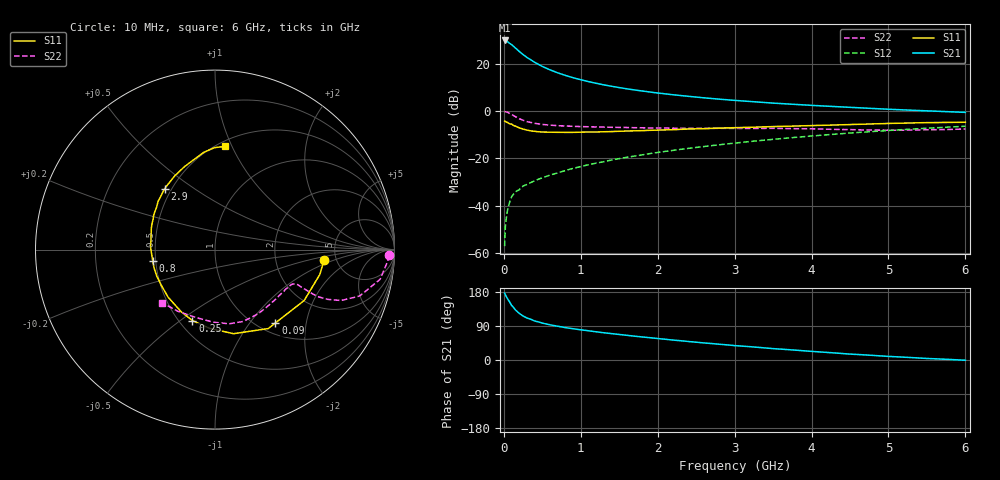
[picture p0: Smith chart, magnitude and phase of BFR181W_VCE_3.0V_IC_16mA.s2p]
! (c) 2017  Infineon Technologies AG, Munich
! Infineon Technologies  Discrete & RF Semiconductors
! BFR181W
! VCE =  3.0 V,  IC =  16 mA
! Common Emitter S-Parameters:  Jan 2017
# GHz  S  MA  R  50
!  f  S11  S21  S12  S22
! GHz  MAG  ANG  MAG  ANG  MAG  ANG  MAG  ANG
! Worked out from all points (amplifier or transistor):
!   77 points, 10 MHz to 6 GHz, reference 50 ohm
!   highest |S21| = 29.8 dB at 10 MHz (marker M1)
!   |S21| within 3 dB of that: start of sweep to 144 MHz
!   unconditionally stable (mu >= 1): 604.2 MHz to 2.647 GHz
!   at 130 MHz: K = 0.40, MSG = 31.0 dB, |S12| = -34.9 dB
!   at 2.2 GHz: K = 1.05, MAG = 10.3 dB, |S12| = -16.6 dB
!   at 6 GHz: K = 0.84, MSG = 2.9 dB, |S12| = -6.4 dB
!   S11 on the Smith chart (normalised r, x): 10 MHz: 4.00, -0.72; 90 MHz: 1.19, -1.35; 250 MHz: 0.58, -0.56; 800 MHz: 0.48, -0.07; 2.9 GHz: 0.46, +0.39; 6 GHz: 0.55, +0.94
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0.01  0.6111 -5.3  30.78 176.6  0.0014 82.1  0.9717 -1.9
0.02  0.6002 -13.4  30.52 171.9  0.0036 96.5  0.9636 -3.9
0.05  0.5721 -29.7  28.89 160.8  0.0084 77.2  0.9347 -10.2
0.09  0.5295 -50.5  25.77 148.0  0.0139 70.6  0.8624 -16.2
0.1  0.5306 -56.0  25.21 144.4  0.0153 69.7  0.8459 -17.8
0.15  0.4797 -77.6  21.38 132.3  0.0196 64.7  0.7571 -22.0
0.2  0.4399 -93.8  18.08 123.0  0.0218 62.4  0.6875 -23.8
0.25  0.415 -107.6  15.53 116.1  0.026 60.2  0.6358 -24.5
0.3  0.3947 -118.4  13.48 110.8  0.0281 61.3  0.5966 -24.4
0.4  0.3722 -134.5  10.64 103.0  0.0336 62.9  0.548 -23.8
0.5  0.3593 -146.4  8.707 97.4  0.0388 64.9  0.5199 -23.4
0.6  0.3564 -155.5  7.371 92.9  0.0443 65.6  0.5023 -23.0
0.8  0.3528 -169.3  5.635 85.5  0.0553 70.1  0.4812 -23.4
0.9  0.3531 -174.8  5.031 82.5  0.0615 69.7  0.4743 -23.9
1.1  0.3598 176.2  4.17 77.1  0.0733 71.6  0.4642 -25.5
1.5  0.3725 162.4  3.114 67.4  0.0987 72.9  0.4496 -30.3
2.1  0.3984 146.2  2.294 54.7  0.1402 72.3  0.4351 -40.5
2.9  0.4391 129.7  1.723 39.9  0.2014 68.6  0.4296 -56.6
3.1  0.4477 125.9  1.628 36.6  0.218 67.3  0.4284 -60.7
4.1  0.4958 108.9  1.288 21.4  0.305 59.6  0.4162 -81.5
5.1  0.5493 95.3  1.07 8.5  0.3958 49.6  0.3924 -109.2
6  0.5782 84.3  0.933 -0.6  0.4765 39.8  0.4168 -134.8
